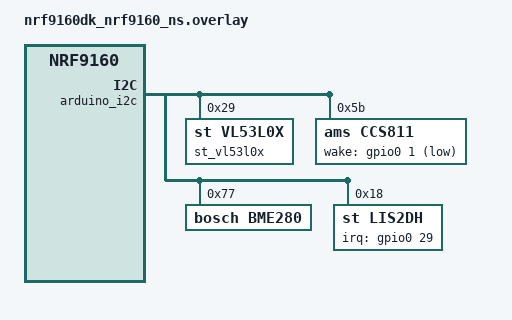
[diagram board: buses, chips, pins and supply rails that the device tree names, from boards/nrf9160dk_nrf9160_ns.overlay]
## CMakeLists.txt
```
# Copyright (c) 2022-2023 Golioth, Inc.
# SPDX-License-Identifier: Apache-2.0

cmake_minimum_required(VERSION 3.20.0)

find_package(Zephyr REQUIRED HINTS $ENV{ZEPHYR_BASE})

project(rd_template)

target_sources(app PRIVATE src/main.c)
target_sources(app PRIVATE src/app_rpc.c)
target_sources(app PRIVATE src/app_settings.c)
target_sources(app PRIVATE src/app_sensors.c)
```

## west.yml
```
# Copyright (c) 2022-2023 Golioth, Inc.
# SPDX-License-Identifier: Apache-2.0

manifest:
  version: 1.0

  projects:
    - name: golioth
      path: modules/lib/golioth-firmware-sdk
      revision: v0.21.0
      url: https://github.com/golioth/golioth-firmware-sdk.git
      west-commands: scripts/west-commands.yml
      submodules: true
      import:
        file: west-ncs.yml
        path-prefix: deps
        name-allowlist:
          - nrf
          - zephyr
          - cmsis_6
          - hal_nordic
          - hal_st
          - mbedtls
          - mbedtls-nrf
          - mcuboot
          - net-tools
          - nrfxlib
          - oberon-psa-crypto
          - qcbor
          - segger
          - tfm-mcuboot
          - tinycrypt
          - trusted-firmware-m
          - zcbor

    - name: golioth-zephyr-boards
      path: deps/modules/lib/golioth-boards
      revision: v2.1.1
      url: https://github.com/golioth/golioth-zephyr-boards

    - name: zephyr-network-info
      path: deps/modules/lib/network-info
      revision: v1.2.1
      url: https://github.com/golioth/zephyr-network-info

    - name: golioth-battery-monitor
      path: deps/modules/lib/battery-monitor
      revision: v1.1.0
      url: https://github.com/golioth/battery-monitor

  self:
    path: app
```

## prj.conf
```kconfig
# Copyright (c) 2022-2023 Golioth, Inc.
# SPDX-License-Identifier: Apache-2.0

# Enable Golioth Firmware SDK
CONFIG_GOLIOTH_FIRMWARE_SDK=y

# Golioth services used in this app
CONFIG_GOLIOTH_FW_UPDATE=y
CONFIG_GOLIOTH_LIGHTDB_STATE=y
CONFIG_LOG_BACKEND_GOLIOTH=y
CONFIG_GOLIOTH_RPC=y
CONFIG_GOLIOTH_SETTINGS=y
CONFIG_GOLIOTH_STREAM=y

# Enable common sample library
CONFIG_GOLIOTH_SAMPLE_COMMON=y

# Configure Golioth SDK dependencies
CONFIG_ZVFS_EVENTFD_MAX=14
CONFIG_ZVFS_OPEN_MAX=23
CONFIG_LOG_PROCESS_THREAD_STACK_SIZE=1536
CONFIG_MBEDTLS_ENABLE_HEAP=y
CONFIG_MBEDTLS_HEAP_SIZE=10240
CONFIG_NETWORKING=y
CONFIG_NET_IPV4=y
CONFIG_COAP_EXTENDED_OPTIONS_LEN=y
CONFIG_COAP_EXTENDED_OPTIONS_LEN_VALUE=39

# Application
CONFIG_MAIN_STACK_SIZE=2048
CONFIG_NET_LOG=y
CONFIG_NET_SHELL=y
CONFIG_REBOOT=y

# Flash memory (etc.) for firmware upgrade
CONFIG_FLASH=y
CONFIG_FLASH_MAP=y
CONFIG_NVS=y
CONFIG_STREAM_FLASH=y
CONFIG_IMG_MANAGER=y
CONFIG_IMG_ERASE_PROGRESSIVELY=y
CONFIG_REBOOT=y

# The rest of the runtime credentials config
CONFIG_SETTINGS=y
CONFIG_SETTINGS_RUNTIME=y
CONFIG_GOLIOTH_SAMPLE_SETTINGS_AUTOLOAD=y
CONFIG_GOLIOTH_SAMPLE_SETTINGS_SHELL=y

# Misc.
CONFIG_JSON_LIBRARY=y

# Longer response length needed for network info
CONFIG_GOLIOTH_RPC_MAX_RESPONSE_LEN=512
CONFIG_I2C=y

# Sensors
CONFIG_GPIO=y
CONFIG_SENSOR=y
CONFIG_VL53L0X=y
CONFIG_BME280=y
CONFIG_LIS2DH=y
CONFIG_CCS811=y
CONFIG_CCS811_TRIGGER_NONE=y

CONFIG_CBPRINTF_FP_SUPPORT=y

CONFIG_SHELL=y
CONFIG_SENSOR_SHELL=y
CONFIG_I2C_SHELL=y

CONFIG_LOG_CMDS=y
```

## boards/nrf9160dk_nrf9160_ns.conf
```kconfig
# Copyright (c) 2024 Golioth, Inc.
# SPDX-License-Identifier: Apache-2.0

# General config
CONFIG_HEAP_MEM_POOL_SIZE=4096
CONFIG_NEWLIB_LIBC=y

# Networking
CONFIG_NET_SOCKETS_OFFLOAD=y
CONFIG_NET_IPV6=y
CONFIG_NET_IPV6_NBR_CACHE=n
CONFIG_NET_IPV6_MLD=n

# Increase native TLS socket implementation, so that it is chosen instead of
# offloaded nRF91 sockets
CONFIG_NET_SOCKETS_TLS_PRIORITY=35

# Modem library
CONFIG_NRF_MODEM_LIB=y

# LTE connectivity with network connection manager
CONFIG_NRF_MODEM_LIB_NET_IF=y
CONFIG_NRF_MODEM_LIB_NET_IF_AUTO_START=y
CONFIG_NRF_MODEM_LIB_NET_IF_AUTO_CONNECT=n
CONFIG_NET_CONNECTION_MANAGER=y
CONFIG_NET_CONNECTION_MANAGER_MONITOR_STACK_SIZE=1024

# Add Logs for LTE Link Handler
CONFIG_GOLIOTH_SAMPLE_NRF91_LTE_MONITOR=y

# Disable options y-selected by NCS for no good reason
CONFIG_MBEDTLS_KEY_EXCHANGE_DHE_PSK_ENABLED=n
CONFIG_MBEDTLS_KEY_EXCHANGE_DHE_RSA_ENABLED=n

# Add Network Info Support
CONFIG_MODEM_INFO=y

# Generate MCUboot compatible images
CONFIG_BOOTLOADER_MCUBOOT=y

CONFIG_REGULATOR=y
```

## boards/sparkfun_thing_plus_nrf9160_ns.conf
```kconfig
# General config
CONFIG_HEAP_MEM_POOL_SIZE=4096
CONFIG_NEWLIB_LIBC=y

# Networking
CONFIG_NET_NATIVE=n
CONFIG_NET_SOCKETS_OFFLOAD=y

# Increase native TLS socket implementation, so that it is chosen instead of
# offloaded nRF91 sockets
CONFIG_NET_SOCKETS_TLS_PRIORITY=35

# LTE link control
CONFIG_LTE_LINK_CONTROL=y
CONFIG_LTE_AUTO_INIT_AND_CONNECT=y

# Modem library
CONFIG_NRF_MODEM_LIB=y

# Use NCS fork of mbedTLS, as Zephyr built-in mbedTLS integration (CONFIG_MBEDTLS_BUILTIN) is in
# conflict with CONFIG_NRF_SECURITY
CONFIG_MBEDTLS_TLS_LIBRARY=y
CONFIG_MBEDTLS_SSL_PROTO_DTLS=y
CONFIG_MBEDTLS_GCM_C=y
# ... and disable options y-selected by NCS for no good reason
CONFIG_MBEDTLS_KEY_EXCHANGE_DHE_PSK_ENABLED=n
CONFIG_MBEDTLS_KEY_EXCHANGE_DHE_RSA_ENABLED=n
# ... also increase heap size to "high enough to make it work"
CONFIG_MBEDTLS_HEAP_SIZE=49152
```

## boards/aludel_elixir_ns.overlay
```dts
/*
 * Copyright (c) 2023 Golioth, Inc.
 *
 * SPDX-License-Identifier: Apache-2.0
 */

&mikrobus_i2c {
	status = "okay";

	st_vl53l0x: st_vl53l0x@29 {
		compatible = "st,vl53l0x";
		reg = <0x29>;
	};

	ccs811: ccs811@5B {
		compatible = "ams,ccs811";
		reg = <0x5B>;
		wake-gpios = <&gpio0 1 GPIO_ACTIVE_LOW>;
   	 };
};
```

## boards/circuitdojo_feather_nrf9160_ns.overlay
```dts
/ {
    aliases {
        sw0 = &greenbtn;
    };

    
    gpio_keys {
        compatible = "gpio-keys";
        greenbtn: green_btn {
            gpios = <&gpio0 3 (GPIO_PULL_UP | GPIO_ACTIVE_LOW)>;
            label = "Green button on outside of case, hooked to pin D7";
        };
    };

};

&i2c1 {
    bme280@77 {
        compatible = "bosch,bme280";
        reg = <0x77>;
        label = "BME280_I2C";
    };
    // ccs811@5B {
    //     compatible = "ams,ccs811";
    //     reg = <0x5B>;
    //     label = "CCS811";
    // };
    vl53l1x@29 {
        compatible = "st,vl53l0x";
        reg = <0x29>;
        label = "VL53L0X";
    };
};
```

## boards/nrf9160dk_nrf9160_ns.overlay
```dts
/*
 * Copyright (c) 2023 Golioth, Inc.
 *
 * SPDX-License-Identifier: Apache-2.0
 */

/ {
	aliases {
		golioth-led = &led2;
		accel0 = &lis2dh;

	};
};

&arduino_i2c {
	status = "okay";

	st_vl53l0x: st_vl53l0x@29 {
		compatible = "st,vl53l0x";
		reg = <0x29>;
	};

	ccs811: ccs811@5B {
		compatible = "ams,ccs811";
		reg = <0x5B>;
		wake-gpios = <&gpio0 1 GPIO_ACTIVE_LOW>;
   	 };

	bme280: bme280@76 {
		compatible = "bosch,bme280";
		reg = <0x77>;
	};

	lis2dh: lis2dh@18 {
		compatible = "st,lis2dh";
		reg = <0x18>;
		irq-gpios = <&gpio0 29 GPIO_ACTIVE_HIGH>;
	};
};

&pinctrl {
	/*
	 * The original Arduino Uno provides the same SCL/SDA on two sets of
	 * pins, but the nRF9160 DK maps these pins to two different pairs of
	 * GPIO. When using the Arduino Uno Click Shield board with the nRF9160
	 * DK, the P0.18/P0.19 pair must be used.
	 */
	i2c2_default: i2c2_default {
		group1 {
			psels = <NRF_PSEL(TWIM_SDA, 0, 18)>,
				<NRF_PSEL(TWIM_SCL, 0, 19)>;
		};
	};

	i2c2_sleep: i2c2_sleep {
		group1 {
			psels = <NRF_PSEL(TWIM_SDA, 0, 18)>,
				<NRF_PSEL(TWIM_SCL, 0, 19)>;
			low-power-enable;
		};
	};

	/*
	 * The default pin group for the nRF9160 DK includes RTS/CTS HW flow
	 * control, but the Arduino Uno Click Shield board does not connect
	 * these pins (only TX/RX are connected on the shield). This keeps RX/TX
	 * on the same pins, but just removes RTS/CTS from the pin groups.
	 */
	uart1_default: uart1_default {
		group1 {
			psels = <NRF_PSEL(UART_TX, 0, 1)>,
				<NRF_PSEL(UART_RX, 0, 0)>;
		};
	};

	uart1_sleep: uart1_sleep {
		group1 {
			psels = <NRF_PSEL(UART_TX, 0, 1)>,
				<NRF_PSEL(UART_RX, 0, 0)>;
			low-power-enable;
		};
	};
};
```

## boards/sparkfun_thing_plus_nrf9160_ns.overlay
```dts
/ {
    aliases {
        sw0 = &greenbtn;
    };

    
    gpio_keys {
        compatible = "gpio-keys";
        greenbtn: green_btn {
            gpios = <&gpio0 3 (GPIO_PULL_UP | GPIO_ACTIVE_LOW)>;
            label = "Green button on outside of case, hooked to pin D7";
        };
    };

};

&i2c1 {
    bme280@77 {
        compatible = "bosch,bme280";
        reg = <0x77>;
        label = "BME280_I2C";
    };
    ccs811@5B {
        compatible = "ams,ccs811";
        reg = <0x5B>;
        label = "CCS811";
    };
    vl53l1x@29 {
        compatible = "st,vl53l0x";
        reg = <0x29>;
        label = "VL53L0X";
    };
};
```

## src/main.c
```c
/*
 * Copyright (c) 2022-2023 Golioth, Inc.
 *
 * SPDX-License-Identifier: Apache-2.0
 */

#include <zephyr/logging/log.h>
LOG_MODULE_REGISTER(golioth_rd_template, LOG_LEVEL_DBG);

#include <app_version.h>
#include "app_rpc.h"
#include "app_settings.h"
#include "app_sensors.h"
#include <golioth/client.h>
#include <golioth/fw_update.h>
#include <samples/common/net_connect.h>
#include <samples/common/sample_credentials.h>
#include <zephyr/kernel.h>

#ifdef CONFIG_SOC_SERIES_NRF91X
#include <modem/lte_lc.h>
#endif
#ifdef CONFIG_ALUDEL_BATTERY_MONITOR
#include <battery_monitor.h>
#endif

#include <zephyr/drivers/gpio.h>

#ifdef CONFIG_MODEM_INFO
#include <modem/modem_info.h>
#endif

/* Current firmware version; update in VERSION */
static const char *_current_version =
	STRINGIFY(APP_VERSION_MAJOR) "." STRINGIFY(APP_VERSION_MINOR) "." STRINGIFY(APP_PATCHLEVEL);

static struct golioth_client *client;
K_SEM_DEFINE(connected, 0, 1);

static k_tid_t _system_thread = 0;

#if DT_NODE_EXISTS(DT_ALIAS(golioth_led))
static const struct gpio_dt_spec golioth_led = GPIO_DT_SPEC_GET(DT_ALIAS(golioth_led), gpios);
#endif /* DT_NODE_EXISTS(DT_ALIAS(golioth_led)) */
static const struct gpio_dt_spec user_btn = GPIO_DT_SPEC_GET(DT_ALIAS(sw1), gpios);
static struct gpio_callback button_cb_data;

/* forward declarations */
void golioth_connection_led_set(uint8_t state);

void wake_system_thread(void)
{
	k_wakeup(_system_thread);
}

static void on_client_event(struct golioth_client *client, enum golioth_client_event event,
			    void *arg)
{
	bool is_connected = (event == GOLIOTH_CLIENT_EVENT_CONNECTED);

	if (is_connected) {
		k_sem_give(&connected);
		golioth_connection_led_set(1);
	}
	LOG_INF("Golioth client %s", is_connected ? "connected" : "disconnected");
}

static void start_golioth_client(void)
{
	/* Get the client configuration from auto-loaded settings */
	const struct golioth_client_config *client_config = golioth_sample_credentials_get();

	/* Create and start a Golioth Client */
	client = golioth_client_create(client_config);

	/* Register Golioth on_connect callback */
	golioth_client_register_event_callback(client, on_client_event, NULL);

	/* Initialize DFU components */
	golioth_fw_update_init(client, _current_version);

	/*** Call Golioth APIs for other services in dedicated app files ***/

	/* Set Golioth Client for streaming sensor data */
	app_sensors_set_client(client);

	/* Register Settings service */
	app_settings_register(client);

	/* Register RPC service */
	app_rpc_register(client);
}

#ifdef CONFIG_SOC_SERIES_NRF91X

static void lte_handler(const struct lte_lc_evt *const evt)
{
	if (evt->type == LTE_LC_EVT_NW_REG_STATUS) {

		if ((evt->nw_reg_status == LTE_LC_NW_REG_REGISTERED_HOME) ||
		    (evt->nw_reg_status == LTE_LC_NW_REG_REGISTERED_ROAMING)) {

			if (!client) {
				/* Create and start a Golioth Client */
				start_golioth_client();
			}
		}
	}
}

#endif /* CONFIG_SOC_SERIES_NRF91X */

#ifdef CONFIG_MODEM_INFO
static void log_modem_firmware_version(void)
{
	char sbuf[128];

	/* Initialize modem info */
	int err = modem_info_init();

	if (err) {
		LOG_ERR("Failed to initialize modem info: %d", err);
	}

	/* Log modem firmware version */
	modem_info_string_get(MODEM_INFO_FW_VERSION, sbuf, sizeof(sbuf));
	LOG_INF("Modem firmware version: %s", sbuf);
}
#endif

void button_pressed(const struct device *dev, struct gpio_callback *cb, uint32_t pins)
{
	LOG_DBG("Button pressed at %d", k_cycle_get_32());
	/* This function is an Interrupt Service Routine. Do not call functions that
	 * use other threads, or perform long-running operations here
	 */
	k_wakeup(_system_thread);
}

/* Set (unset) LED indicators for active Golioth connection */
void golioth_connection_led_set(uint8_t state)
{
	uint8_t pin_state = state ? 1 : 0;
	ARG_UNUSED(pin_state); /* silence warning if no LED/Ostentus present */

	/* Turn on Golioth logo LED once connected */
	IF_ENABLED(DT_NODE_EXISTS(DT_ALIAS(golioth_led)),
		(gpio_pin_set_dt(&golioth_led, pin_state);));
}

int main(void)
{
	int err;

	LOG_DBG("Start Trashcan Monitor");

	LOG_INF("Firmware version: %s", _current_version);
	IF_ENABLED(CONFIG_MODEM_INFO, (log_modem_firmware_version();));

	/* Get system thread id so loop delay change event can wake main */
	_system_thread = k_current_get();

	/* Initialize sensors */
	app_sensors_init();

#if DT_NODE_EXISTS(DT_ALIAS(golioth_led))
	/* Initialize Golioth logo LED */
	err = gpio_pin_configure_dt(&golioth_led, GPIO_OUTPUT_INACTIVE);
	if (err) {
		LOG_ERR("Unable to configure LED for Golioth Logo");
	}
#endif /* #if DT_NODE_EXISTS(DT_ALIAS(golioth_led)) */

#ifdef CONFIG_SOC_SERIES_NRF91X
	/* Start LTE asynchronously if the nRF9160 is used.
	 * Golioth Client will start automatically when LTE connects
	 */

	LOG_INF("Connecting to LTE, this may take some time...");
	lte_lc_connect_async(lte_handler);

#else
	/* If nRF9160 is not used, start the Golioth Client and block until connected */

	/* Run WiFi/DHCP if necessary */
	if (IS_ENABLED(CONFIG_GOLIOTH_SAMPLE_COMMON)) {
		net_connect();
	}

	/* Start Golioth client */
	start_golioth_client();

	/* Block until connected to Golioth */
	k_sem_take(&connected, K_FOREVER);
#endif /* CONFIG_SOC_SERIES_NRF91X */

	/* Set up user button */
	err = gpio_pin_configure_dt(&user_btn, GPIO_INPUT);
	if (err) {
		LOG_ERR("Error %d: failed to configure %s pin %d", err, user_btn.port->name,
			user_btn.pin);
		return err;
	}

	err = gpio_pin_interrupt_configure_dt(&user_btn, GPIO_INT_EDGE_TO_ACTIVE);
	if (err) {
		LOG_ERR("Error %d: failed to configure interrupt on %s pin %d", err,
			user_btn.port->name, user_btn.pin);
		return err;
	}

	gpio_init_callback(&button_cb_data, button_pressed, BIT(user_btn.pin));
	gpio_add_callback(user_btn.port, &button_cb_data);

	while (true) {
		app_sensors_read_and_stream();

		k_sleep(K_SECONDS(get_loop_delay_s()));
	}
}
```

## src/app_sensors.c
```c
/*
 * Copyright (c) 2022-2023 Golioth, Inc.
 *
 * SPDX-License-Identifier: Apache-2.0
 */

#include <stdlib.h>
#include <zephyr/logging/log.h>
#include <sys/_stdint.h>
LOG_MODULE_REGISTER(app_sensors, LOG_LEVEL_DBG);

#include <golioth/client.h>
#include <zephyr/drivers/sensor.h>
#include <golioth/stream.h>
#include <zcbor_encode.h>
#include <zephyr/drivers/gpio.h>
#include <zephyr/kernel.h>

#include "app_sensors.h"
#include "app_settings.h"

#ifdef CONFIG_ALUDEL_BATTERY_MONITOR
#include <battery_monitor.h>
#endif

static struct golioth_client *client;

/* Add Sensor structs here */
const struct device *vl53_dev = DEVICE_DT_GET(DT_NODELABEL(st_vl53l0x));
const struct device *bme280_dev = DEVICE_DT_GET(DT_NODELABEL(bme280));
const struct device *ccs811_dev = DEVICE_DT_GET(DT_NODELABEL(ccs811));
const struct device *accel_dev = DEVICE_DT_GET(DT_ALIAS(accel0));

struct bme280_sensor_measurement {
	struct sensor_value temperature;
	struct sensor_value pressure;
	struct sensor_value humidity;
};

static struct bme280_sensor_measurement bme280_sm;

/* Callback for LightDB Stream */
static void async_error_handler(struct golioth_client *client, enum golioth_status status,
				const struct golioth_coap_rsp_code *coap_rsp_code, const char *path,
				void *arg)
{
	if (status != GOLIOTH_OK) {
		LOG_ERR("Async task failed: %d", status);
		return;
	}
}

static void stream_payload(uint8_t* cbor_buf, size_t cbor_size, char* path)
{
	int err;

	/* Only stream sensor data if connected */
	if (golioth_client_is_connected(client)) {
		err = golioth_stream_set_async(client,
					path,
					GOLIOTH_CONTENT_TYPE_CBOR,
					cbor_buf,
					cbor_size,
					async_error_handler,
					NULL);
		if (err) {
			LOG_ERR("Failed to send %s data to Golioth: %d", path, err);
		}
	}
}

void app_sensors_init(void)
{
	LOG_DBG("Initializing VL53 sensor");
	if (!device_is_ready(vl53_dev)) {
		LOG_ERR("Device %s is not ready", vl53_dev->name);
	}

	LOG_DBG("Initializing BME280 sensor");
	if (!device_is_ready(bme280_dev)) {
		LOG_ERR("Device %s is not ready", bme280_dev->name);
	}

	LOG_DBG("Initializing CCS811 sensor");
	if (!device_is_ready(ccs811_dev)) {
		LOG_ERR("Device %s is not ready", ccs811_dev->name);
	}

	LOG_DBG("Initializing LIS2DH sensor");
	if (!device_is_ready(accel_dev)) {
		LOG_ERR("Device %s is not ready", accel_dev->name);
	}
}

/* This will be called by the main() loop */
/* Do all of your work here! */
void app_sensors_read_and_stream(void)
{
	int err;

	/* Golioth custom hardware for demos */
	IF_ENABLED(CONFIG_ALUDEL_BATTERY_MONITOR, (
		read_and_report_battery(client);
	));

	/* Get VL53X sensor data */
	struct sensor_value distance_value;
	int dist_in_mm = 0;
	int fill_level = -1;

	err = sensor_sample_fetch(vl53_dev);
	if (err) {
		LOG_ERR("Failed to fetch VL53 sensor data: %d", err);
	} else {
		sensor_channel_get(vl53_dev, SENSOR_CHAN_DISTANCE, &distance_value);
		dist_in_mm = sensor_value_to_milli(&distance_value);

		LOG_DBG("Distance is %d mm", dist_in_mm);

		fill_level = (100 - ((float)dist_in_mm/get_trash_can_heigth_s()) * 100);
		if (fill_level < 0) {
			fill_level = -1;
			LOG_WRN("VL53 sensor out of range");
		} else {
			LOG_DBG("Trash Can fill level = %d%%", fill_level);
		}
	}

	/* Get BME280 sensor data */
	err = sensor_sample_fetch(bme280_dev);
	if (err) {
		LOG_ERR("Error fetching BME280 weather sensor data: %d", err);
	} else {
		sensor_channel_get(bme280_dev, SENSOR_CHAN_AMBIENT_TEMP, &bme280_sm.temperature);
		sensor_channel_get(bme280_dev, SENSOR_CHAN_PRESS, &bme280_sm.pressure);
		sensor_channel_get(bme280_dev, SENSOR_CHAN_HUMIDITY, &bme280_sm.humidity);

		LOG_DBG("BME280: Temperature= %.2f C, Pressure= %.2f kPa, Humidity=%.2f %%RH",
			sensor_value_to_double(&bme280_sm.temperature),
			sensor_value_to_double(&bme280_sm.pressure),
			sensor_value_to_double(&bme280_sm.humidity));
	}

	/* Get CCS811 sensor data */
	struct sensor_value co2, voc;

	err = sensor_sample_fetch(ccs811_dev);
	if (err) {
		LOG_ERR("Failed to fetch CCS811 sensor data: %d", err);
	} else {
		sensor_channel_get(ccs811_dev, SENSOR_CHAN_CO2, &co2);
		sensor_channel_get(ccs811_dev, SENSOR_CHAN_VOC, &voc);
		LOG_DBG("CCS811:  eCO2= %u ppm; eTVOC= %u ppb", co2.val1, voc.val1);
	}

	/* Get accelerometer sensor data */
	struct sensor_value accel[3];
	sensor_sample_fetch(accel_dev);
	if (err) {
		LOG_ERR("Failed to fetch accelerometer sensor data: %d", err);
	} else {
		sensor_channel_get(accel_dev, SENSOR_CHAN_ACCEL_XYZ, accel);
		LOG_DBG("Accel: x= %.2f , y= %.2f , z= %.2f",
			sensor_value_to_double(&accel[0]),
			sensor_value_to_double(&accel[1]),
			sensor_value_to_double(&accel[2]));
	}

	/* Encode accelerometer sensor data using CBOR serialization */
	uint8_t accel_buf[64];
	size_t cbor_size;

	/* Create zcbor state variable for encoding */
	ZCBOR_STATE_E(zse, 1, accel_buf, sizeof(accel_buf), 0);
	bool ok = zcbor_map_start_encode(zse, 3) &&
		  zcbor_tstr_put_lit(zse, "x") &&
		  zcbor_float32_put(zse, sensor_value_to_float(&accel[0])) &&
		  zcbor_tstr_put_lit(zse, "y") &&
		  zcbor_float32_put(zse, sensor_value_to_float(&accel[1])) &&
		  zcbor_tstr_put_lit(zse, "z") &&
		  zcbor_float32_put(zse, sensor_value_to_float(&accel[2])) &&
		  zcbor_map_end_encode(zse, 3);

	if (!ok) {
		GLTH_LOGE(TAG, "Failed to close accelerometer CBOR map");
	} else {
		cbor_size = (intptr_t) zse->payload - (intptr_t) accel_buf;
		stream_payload(accel_buf, cbor_size, "accel");
	}

	/* Encode VL53 sensor data using CBOR serialization */
	uint8_t vl53_buf[64];

	/* Create zcbor state variable for encoding */
	ZCBOR_STATE_E(zse_vl, 1, vl53_buf, sizeof(vl53_buf), 0);
	ok = zcbor_map_start_encode(zse_vl, 2) &&
	     zcbor_tstr_put_lit(zse_vl, "distance") &&
	     zcbor_int32_put(zse_vl, (sensor_value_to_milli(&distance_value))) &&
	     zcbor_tstr_put_lit(zse_vl, "fill level") &&
	     zcbor_int32_put(zse_vl, fill_level) &&
	     zcbor_map_end_encode(zse_vl, 2);

	if (!ok) {
		GLTH_LOGE(TAG, "Failed to close accelerometer CBOR map");
	} else {
		cbor_size = (intptr_t) zse_vl->payload - (intptr_t) vl53_buf;
		stream_payload(vl53_buf, cbor_size, "VL53");
	}

	/* Encode BME280 and CCS811 sensor data using CBOR serialization */
	uint8_t weather_buf[128];

	/* Create zcbor state variable for encoding */
	ZCBOR_STATE_E(zse_weather, 1, weather_buf, sizeof(zse_weather), 0);
	ok = zcbor_map_start_encode(zse_weather, 4) &&
	     zcbor_tstr_put_lit(zse_weather, "temperature") &&
             zcbor_float32_put(zse_weather, sensor_value_to_float(&bme280_sm.temperature)) &&
	     zcbor_tstr_put_lit(zse_weather, "humidity") &&
             zcbor_float32_put(zse_weather, sensor_value_to_float(&bme280_sm.humidity)) &&
	     zcbor_tstr_put_lit(zse_weather, "pressure") &&
             zcbor_float32_put(zse_weather, sensor_value_to_float(&bme280_sm.pressure)) &&
	     zcbor_tstr_put_lit(zse_weather, "gas") &&
	     zcbor_map_start_encode(zse_weather, 2) &&
	     zcbor_tstr_put_lit(zse_weather, "co2") &&
             zcbor_int32_put(zse_weather, (co2.val1)) &&
	     zcbor_tstr_put_lit(zse_weather, "voc") &&
             zcbor_int32_put(zse_weather, (voc.val1)) &&
	     zcbor_map_end_encode(zse_weather, 2) &&
	     zcbor_map_end_encode(zse_weather, 4);

	if (!ok) {
		GLTH_LOGE(TAG, "Failed to close weather CBOR map");
	} else {
		cbor_size = (intptr_t) zse_weather->payload - (intptr_t) weather_buf;
		stream_payload(weather_buf, cbor_size, "weather");
	}
}

void app_sensors_set_client(struct golioth_client *sensors_client)
{
	client = sensors_client;
}
```

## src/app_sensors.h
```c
/*
 * Copyright (c) 2022-2023 Golioth, Inc.
 *
 * SPDX-License-Identifier: Apache-2.0
 */

#ifndef __APP_SENSORS_H__
#define __APP_SENSORS_H__

/** The `app_sensors.c` file performs the important work of this application
 * which is to read sensor values and report them to the Golioth LightDB Stream
 * as time-series data.
 *
 * For this demonstration, a `counter` value is periodically logged and pushed
 * to the Golioth time-series database. This simulated sensor reading occurs
 * when the loop in `main.c` calls `app_sensors_read_and_stream()`. The
 * frequency of this loop is determined by values received from the Golioth
 * Settings Service (see app_settings.h).
 *
 * https://docs.golioth.io/firmware/zephyr-device-sdk/light-db-stream/
 */

#include <golioth/client.h>

void app_sensors_init(void);
void app_sensors_set_client(struct golioth_client *sensors_client);
void app_sensors_read_and_stream(void);

#endif /* __APP_SENSORS_H__ */
```

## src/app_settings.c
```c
/*
 * Copyright (c) 2022-2023 Golioth, Inc.
 *
 * SPDX-License-Identifier: Apache-2.0
 */

#include <zephyr/logging/log.h>
LOG_MODULE_REGISTER(app_settings, LOG_LEVEL_DBG);

#include <golioth/client.h>
#include <golioth/settings.h>
#include "main.h"
#include "app_settings.h"

static int32_t _loop_delay_s = 60;
#define LOOP_DELAY_S_MAX 43200
#define LOOP_DELAY_S_MIN 1

static int32_t _trash_can_height_s = 500;
#define TRASH_CAN_HEIGHT_MIN 100
#define TRASH_CAN_HEIGHT_MAX 1500

int32_t get_loop_delay_s(void)
{
	return _loop_delay_s;
}

int32_t get_trash_can_heigth_s(void)
{
	return _trash_can_height_s;
}

static enum golioth_settings_status on_loop_delay_setting(int32_t new_value, void *arg)
{
	_loop_delay_s = new_value;
	LOG_INF("Set loop delay to %i seconds", new_value);
	wake_system_thread();
	return GOLIOTH_SETTINGS_SUCCESS;
}

static enum golioth_settings_status on_trash_can_height_setting(int32_t new_value, void *arg)
{
	_trash_can_height_s = new_value;
	LOG_INF("Set trash can height to %i millimeters", new_value);
	wake_system_thread();
	return GOLIOTH_SETTINGS_SUCCESS;
}

int app_settings_register(struct golioth_client *client)
{
	struct golioth_settings *settings = golioth_settings_init(client);

	int err = golioth_settings_register_int_with_range(settings,
							   "LOOP_DELAY_S",
							   LOOP_DELAY_S_MIN,
							   LOOP_DELAY_S_MAX,
							   on_loop_delay_setting,
							   NULL);

	if (err) {
		LOG_ERR("Failed to register settings callback: %d", err);
	}

	err = golioth_settings_register_int_with_range(settings,
						       "TRASH_CAN_HEIGHT_MM",
						       TRASH_CAN_HEIGHT_MIN,
						       TRASH_CAN_HEIGHT_MAX,
						       on_trash_can_height_setting,
						       NULL);

	if (err) {
		LOG_ERR("Failed to register settings callback: %d", err);
	}


	return err;
}
```

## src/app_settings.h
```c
/*
 * Copyright (c) 2022-2023 Golioth, Inc.
 *
 * SPDX-License-Identifier: Apache-2.0
 */

/**
 * Process changes received from the Golioth Settings Service and return a code
 * to Golioth to indicate the success or failure of the update.
 *
 * In this demonstration, the device looks for the `LOOP_DELAY_S` key from the
 * Settings Service and uses this value to determine the delay between sensor
 * reads (the period of sleep in the loop of `main.c`.
 *
 * https://docs.golioth.io/firmware/zephyr-device-sdk/device-settings-service
 */

#ifndef __APP_SETTINGS_H__
#define __APP_SETTINGS_H__

#include <stdint.h>
#include <golioth/client.h>

int32_t get_loop_delay_s(void);
int32_t get_trash_can_heigth_s(void);
int app_settings_register(struct golioth_client *client);

#endif /* __APP_SETTINGS_H__ */
```

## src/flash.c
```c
/*
 * Copyright (c) 2021 Golioth, Inc.
 *
 * SPDX-License-Identifier: Apache-2.0
 */

#include <zephyr/logging/log.h>
LOG_MODULE_REGISTER(flash_c, LOG_LEVEL_DBG);

#include <stdio.h>
#include <zephyr/storage/flash_map.h>

#include "flash.h"

/* NCS' fork of Zephyr does not implement DT_FIXED_PARTITION_EXISTS macro yet */
#ifndef DT_FIXED_PARTITION_EXISTS
#define DT_FIXED_PARTITION_EXISTS(node_id)		\
	DT_NODE_HAS_COMPAT(DT_PARENT(node_id), fixed_partitions)
#endif

/* NCS' fork of Zephyr does not implement FIXED_PARTITION_ macros yet */
#ifndef FIXED_PARTITION_EXISTS
#define FIXED_PARTITION_EXISTS(label) DT_FIXED_PARTITION_EXISTS(DT_NODELABEL(label))
#endif

/* NCS' fork of Zephyr does not implement FIXED_PARTITION_ macros yet */
#ifndef FIXED_PARTITION_ID
#define FIXED_PARTITION_ID(label) DT_FIXED_PARTITION_ID(DT_NODELABEL(label))
#endif

#ifdef CONFIG_TRUSTED_EXECUTION_NONSECURE
#define SLOT0_LABEL	slot0_ns_partition
#define SLOT1_LABEL	slot1_ns_partition
#else
#define SLOT0_LABEL	slot0_partition
#define SLOT1_LABEL	slot1_partition
#endif /* CONFIG_TRUSTED_EXECUTION_NONSECURE */

/* FIXED_PARTITION_ID() values used below are auto-generated by DT */
#define FLASH_AREA_IMAGE_PRIMARY FIXED_PARTITION_ID(SLOT0_LABEL)
#if FIXED_PARTITION_EXISTS(SLOT1_LABEL)
#define FLASH_AREA_IMAGE_SECONDARY FIXED_PARTITION_ID(SLOT1_LABEL)
#endif

char current_version_str[sizeof("255.255.65535")];

static int current_version_init(const struct device *dev)
{
	struct mcuboot_img_header hdr;
	int written;
	int err;

	err = boot_read_bank_header(FLASH_AREA_IMAGE_PRIMARY, &hdr, sizeof(hdr));
	if (err) {
		LOG_ERR("Failed to read primary area (%u) header: %d",
			FLASH_AREA_IMAGE_PRIMARY, err);
		return err;
	}

	written = snprintf(current_version_str, sizeof(current_version_str),
			   "%u.%u.%u",
			   (unsigned int) hdr.h.v1.sem_ver.major,
			   (unsigned int) hdr.h.v1.sem_ver.minor,
			   (unsigned int) hdr.h.v1.sem_ver.revision);
	if (written >= sizeof(current_version_str)) {
		LOG_ERR("Version string is too long!");
		current_version_str[0] = '\0';
		return -ENOMEM;
	}

	return 0;
}

SYS_INIT(current_version_init, APPLICATION, CONFIG_APPLICATION_INIT_PRIORITY);

/*
 * @note This is a copy of ERASED_VAL_32() from mcumgr.
 */
#define ERASED_VAL_32(x) (((x) << 24) | ((x) << 16) | ((x) << 8) | (x))

/**
 * Determines if the specified area of flash is completely unwritten.
 *
 * @note This is a copy of zephyr_img_mgmt_flash_check_empty() from mcumgr.
 */
static int flash_area_check_empty(const struct flash_area *fa,
				  bool *out_empty)
{
	uint32_t data[16];
	off_t addr;
	off_t end;
	int bytes_to_read;
	int rc;
	int i;
	uint8_t erased_val;
	uint32_t erased_val_32;

	__ASSERT_NO_MSG(fa->fa_size % 4 == 0);

	erased_val = flash_area_erased_val(fa);
	erased_val_32 = ERASED_VAL_32(erased_val);

	end = fa->fa_size;
	for (addr = 0; addr < end; addr += sizeof(data)) {
		if (end - addr < sizeof(data)) {
			bytes_to_read = end - addr;
		} else {
			bytes_to_read = sizeof(data);
		}

		rc = flash_area_read(fa, addr, data, bytes_to_read);
		if (rc != 0) {
			flash_area_close(fa);
			return rc;
		}

		for (i = 0; i < bytes_to_read / 4; i++) {
			if (data[i] != erased_val_32) {
				*out_empty = false;
				flash_area_close(fa);
				return 0;
			}
		}
	}

	*out_empty = true;

	return 0;
}

static int flash_img_erase_if_needed(struct flash_img_context *ctx)
{
	bool empty;
	int err;

	if (IS_ENABLED(CONFIG_IMG_ERASE_PROGRESSIVELY)) {
		return 0;
	}

	err = flash_area_check_empty(ctx->flash_area, &empty);
	if (err) {
		return err;
	}

	if (empty) {
		return 0;
	}

	err = flash_area_erase(ctx->flash_area, 0, ctx->flash_area->fa_size);
	if (err) {
		return err;
	}

	return 0;
}

static const char *swap_type_str(int swap_type)
{
	switch (swap_type) {
	case BOOT_SWAP_TYPE_NONE:
		return "none";
	case BOOT_SWAP_TYPE_TEST:
		return "test";
	case BOOT_SWAP_TYPE_PERM:
		return "perm";
	case BOOT_SWAP_TYPE_REVERT:
		return "revert";
	case BOOT_SWAP_TYPE_FAIL:
		return "fail";
	}

	return "unknown";
}

int flash_img_prepare(struct flash_img_context *flash)
{
	int swap_type;
	int err;

	swap_type = mcuboot_swap_type();
	switch (swap_type) {
	case BOOT_SWAP_TYPE_REVERT:
		LOG_WRN("'revert' swap type detected, it is not safe to continue");
		return -EBUSY;
	default:
		LOG_INF("swap type: %s", swap_type_str(swap_type));
		break;
	}

	err = flash_img_init(flash);
	if (err) {
		LOG_ERR("failed to init: %d", err);
		return err;
	}

	err = flash_img_erase_if_needed(flash);
	if (err) {
		LOG_ERR("failed to erase: %d", err);
		return err;
	}

	return 0;
}
```

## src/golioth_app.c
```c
/*
 * Copyright (c) 2021 Golioth, Inc.
 *
 * SPDX-License-Identifier: Apache-2.0
 */


#include <zephyr/logging/log.h>
LOG_MODULE_REGISTER(golioth_app_c, LOG_LEVEL_INF);

#include <net/golioth/system_client.h>
#include <net/golioth/fw.h>
#include <net/golioth/settings.h>
#include <zephyr/init.h>
#include <zephyr/net/coap.h>

#include "main.h"
#include "golioth_ota.h"
#include "golioth_app.h"

K_SEM_DEFINE(sem_connected, 0, 1);

struct golioth_client *client = GOLIOTH_SYSTEM_CLIENT_GET();

extern char current_version_str[sizeof("255.255.65535")];	//TODO: refactor to remove link to flash.c
extern enum golioth_dfu_result dfu_initial_result; //TODO: refactor to remove link to golioth_ota.c

// Queue for sensor data being sent to Golioth LightDB Stream
K_MSGQ_DEFINE(sensor_data_msgq, SENSOR_DATA_STRING_LEN, SENSOR_DATA_ARRAY_SIZE, 4);

// Set default variables

uint32_t _sensor_interval = 60;
uint32_t _transmit_every_x_reading = 5;
uint32_t TRASH_DIST_25PCT_IN_MM = 500;
uint32_t TRASH_DIST_50PCT_IN_MM = 500;
uint32_t TRASH_DIST_75PCT_IN_MM = 250;
uint32_t TRASH_DIST_90PCT_IN_MM = 100;
uint32_t TRASH_DIST_95PCT_IN_MM = 50;
uint32_t TRASH_DIST_98PCT_IN_MM = 20;
uint32_t TRASH_DIST_100PCT_IN_MM = 0;
double Z_THRESHOLD = 0;	

enum golioth_settings_status on_setting(
		const char *key,
		const struct golioth_settings_value *value)
{
	LOG_DBG("Received setting: key = %s, type = %d", key, value->type);
	if (strcmp(key, "SENSOR_READING_LOOP_S") == 0) {

		/* This setting is expected to be numeric, return an error if it's not */
		if (value->type != GOLIOTH_SETTINGS_VALUE_TYPE_INT64) {
			return GOLIOTH_SETTINGS_VALUE_FORMAT_NOT_VALID;
		}

		/* This setting must be in range [1, 1000], return an error if it's not */
		if (value->i64 < 1 || value->i64 > 1000) {
			return GOLIOTH_SETTINGS_VALUE_OUTSIDE_RANGE;
		}

		/* Setting has passed all checks, so apply it to the loop delay */
		_sensor_interval = (int32_t)value->i64;
		LOG_INF("Set sensor interval to %d seconds", _sensor_interval);

		// Restart the timer with newly added value

		restart_timer();

		return GOLIOTH_SETTINGS_SUCCESS;
	}

	if (strcmp(key, "TRANSMIT_DATA_EVERY_X_READING") == 0) {

		/* This setting is expected to be numeric, return an error if it's not */

		if (value->type != GOLIOTH_SETTINGS_VALUE_TYPE_INT64) {
			return GOLIOTH_SETTINGS_VALUE_FORMAT_NOT_VALID;
		}

		/* This setting must be in range [1, 16], return an error if it's not */
		if (value->i64 < 1 || value->i64 > 16) {
			return GOLIOTH_SETTINGS_VALUE_OUTSIDE_RANGE;
		}

		/* Setting has passed all checks, so apply it to the loop delay */
		_transmit_every_x_reading = (int32_t)value->i64;
		LOG_INF("Set to transmit every %d readings", _transmit_every_x_reading);

		return GOLIOTH_SETTINGS_SUCCESS;
	}

	if (strcmp(key, "TRASH_DIST_25PCT_IN_MM") == 0) {

		/* This setting is expected to be numeric, return an error if it's not */

		if (value->type != GOLIOTH_SETTINGS_VALUE_TYPE_INT64) {
			return GOLIOTH_SETTINGS_VALUE_FORMAT_NOT_VALID;
		}

		/* This setting must be in range [1, 5000], return an error if it's not */
		if (value->i64 < 1 || value->i64 > 5000) {
			return GOLIOTH_SETTINGS_VALUE_OUTSIDE_RANGE;
		}

		/* Setting has passed all checks, so apply it to the loop delay */
		TRASH_DIST_25PCT_IN_MM = (int32_t)value->i64;
		LOG_INF("25PCT Trash level set to %d mm", TRASH_DIST_25PCT_IN_MM);

		return GOLIOTH_SETTINGS_SUCCESS;
	}

	if (strcmp(key, "TRASH_DIST_50PCT_IN_MM") == 0) {

		/* This setting is expected to be numeric, return an error if it's not */

		if (value->type != GOLIOTH_SETTINGS_VALUE_TYPE_INT64) {
			return GOLIOTH_SETTINGS_VALUE_FORMAT_NOT_VALID;
		}

		/* This setting must be in range [1, 5000], return an error if it's not */
		if (value->i64 < 1 || value->i64 > 5000) {
			return GOLIOTH_SETTINGS_VALUE_OUTSIDE_RANGE;
		}

		/* Setting has passed all checks, so apply it to the loop delay */
		TRASH_DIST_50PCT_IN_MM = (int32_t)value->i64;
		LOG_INF("50PCT Trash level set to %d mm", TRASH_DIST_50PCT_IN_MM);

		return GOLIOTH_SETTINGS_SUCCESS;
	}

	if (strcmp(key, "TRASH_DIST_75PCT_IN_MM") == 0) {

		/* This setting is expected to be numeric, return an error if it's not */

		if (value->type != GOLIOTH_SETTINGS_VALUE_TYPE_INT64) {
			return GOLIOTH_SETTINGS_VALUE_FORMAT_NOT_VALID;
		}

		/* This setting must be in range [1, 5000], return an error if it's not */
		if (value->i64 < 1 || value->i64 > 5000) {
			return GOLIOTH_SETTINGS_VALUE_OUTSIDE_RANGE;
		}

		/* Setting has passed all checks, so apply it to the loop delay */
		TRASH_DIST_75PCT_IN_MM = (int32_t)value->i64;
		LOG_INF("75PCT Trash level set to %d mm", TRASH_DIST_75PCT_IN_MM);

		return GOLIOTH_SETTINGS_SUCCESS;
	}

	if (strcmp(key, "TRASH_DIST_90PCT_IN_MM") == 0) {

		/* This setting is expected to be numeric, return an error if it's not */

		if (value->type != GOLIOTH_SETTINGS_VALUE_TYPE_INT64) {
			return GOLIOTH_SETTINGS_VALUE_FORMAT_NOT_VALID;
		}

		/* This setting must be in range [1, 5000], return an error if it's not */
		if (value->i64 < 1 || value->i64 > 5000) {
			return GOLIOTH_SETTINGS_VALUE_OUTSIDE_RANGE;
		}

		/* Setting has passed all checks, so apply it to the loop delay */
		TRASH_DIST_90PCT_IN_MM = (int32_t)value->i64;
		LOG_INF("90PCT Trash level set to %d mm", TRASH_DIST_90PCT_IN_MM);

		return GOLIOTH_SETTINGS_SUCCESS;
	}

		if (strcmp(key, "TRASH_DIST_95PCT_IN_MM") == 0) {

		/* This setting is expected to be numeric, return an error if it's not */

		if (value->type != GOLIOTH_SETTINGS_VALUE_TYPE_INT64) {
			return GOLIOTH_SETTINGS_VALUE_FORMAT_NOT_VALID;
		}

		/* This setting must be in range [1, 5000], return an error if it's not */
		if (value->i64 < 1 || value->i64 > 5000) {
			return GOLIOTH_SETTINGS_VALUE_OUTSIDE_RANGE;
		}

		/* Setting has passed all checks, so apply it to the loop delay */
		TRASH_DIST_95PCT_IN_MM = (int32_t)value->i64;
		LOG_INF("95PCT Trash distance set to %d mm", TRASH_DIST_95PCT_IN_MM);

		return GOLIOTH_SETTINGS_SUCCESS;
	}

	if (strcmp(key, "TRASH_DIST_98PCT_IN_MM") == 0) {

		/* This setting is expected to be numeric, return an error if it's not */

		if (value->type != GOLIOTH_SETTINGS_VALUE_TYPE_INT64) {
			return GOLIOTH_SETTINGS_VALUE_FORMAT_NOT_VALID;
		}

		/* This setting must be in range [1, 5000], return an error if it's not */
		if (value->i64 < 1 || value->i64 > 5000) {
			return GOLIOTH_SETTINGS_VALUE_OUTSIDE_RANGE;
		}

		/* Setting has passed all checks, so apply it to the loop delay */
		TRASH_DIST_98PCT_IN_MM = (int32_t)value->i64;
		LOG_INF("98PCT Trash distance set to %d mm", TRASH_DIST_98PCT_IN_MM);

		return GOLIOTH_SETTINGS_SUCCESS;
	}

	if (strcmp(key, "TRASH_DIST_100PCT_IN_MM") == 0) {

		/* This setting is expected to be numeric, return an error if it's not */

		if (value->type != GOLIOTH_SETTINGS_VALUE_TYPE_INT64) {
			return GOLIOTH_SETTINGS_VALUE_FORMAT_NOT_VALID;
		}

		/* This setting must be in range [1, 5000], return an error if it's not */
		if (value->i64 < 1 || value->i64 > 5000) {
			return GOLIOTH_SETTINGS_VALUE_OUTSIDE_RANGE;
		}

		/* Setting has passed all checks, so apply it to the loop delay */
		TRASH_DIST_100PCT_IN_MM = (int32_t)value->i64;
		LOG_INF("100PCT Trash distance set to %d mm", TRASH_DIST_100PCT_IN_MM);

		return GOLIOTH_SETTINGS_SUCCESS;
	}

	if (strcmp(key, "Z_THRESHOLD") == 0) {

		/* This setting is expected to be numeric, return an error if it's not */
		if (value->type != GOLIOTH_SETTINGS_VALUE_TYPE_FLOAT) {
			return GOLIOTH_SETTINGS_VALUE_FORMAT_NOT_VALID;
		}

		/* This setting must be in range [-10, 10], return an error if it's not */
		if (value->f < MIN_Z_THRESHOLD || value->f > MAX_Z_THRESHOLD) {
			return GOLIOTH_SETTINGS_VALUE_OUTSIDE_RANGE;
		}

		/* Setting has passed all checks, so apply it to the loop delay */
		Z_THRESHOLD = (double)value->f;
		LOG_INF("Z Threshold set to %f", Z_THRESHOLD);

		return GOLIOTH_SETTINGS_SUCCESS;
	}

	/* If the setting is not recognized, we should return an error */
	return GOLIOTH_SETTINGS_KEY_NOT_RECOGNIZED;
}


static int lightdb_error_handler(struct golioth_req_rsp *rsp)
{
	if (rsp->err) {
		LOG_WRN("Failed to set lightdb: %d", rsp->err);
		return rsp->err;
	}

	return 0;
}

static void golioth_on_connect(struct golioth_client *client)
{
	int err;

	k_sem_give(&sem_connected);

	err = golioth_fw_observe_desired(client, golioth_desired_update, &update_ctx);
	if (err) {
		LOG_ERR("Failed to start observation of desired FW: %d", err);
	}

	if (IS_ENABLED(CONFIG_GOLIOTH_SETTINGS)) 
	{
		err = golioth_settings_register_callback(client, on_setting);

		if (err) 
		{
			LOG_ERR("Failed to register settings callback: %d", err);
		}
	}
}

void golioth_lightdb_stream_handler(struct k_work *work) 

{
	int err;
	char stream_data[SENSOR_DATA_STRING_LEN];

	LOG_DBG("Pulling data off of queue");
	err = k_msgq_get(&sensor_data_msgq, &stream_data, K_NO_WAIT);
	if (err)
	{
		LOG_DBG("Error getting data from the queue: %d\n", err);	
	}
	
	err = golioth_stream_push_cb(client, "sensor",
				     GOLIOTH_CONTENT_FORMAT_APP_JSON,
				     stream_data, strlen(stream_data),
				     lightdb_error_handler, NULL);
	if (err) {
		LOG_WRN("Failed to send sensor data: %d", err);
		return;
	}

	LOG_DBG("Sent the following to LightDB Stream: %s", stream_data);

}

K_WORK_DEFINE(lightdb_stream_submit_worker, golioth_lightdb_stream_handler);


void send_queued_data_to_golioth(char* sensor_data_array, char* golioth_endpoint)
{
	int err;
	err = k_msgq_put(&sensor_data_msgq, sensor_data_array, K_NO_WAIT);
	if (err){
		LOG_ERR("Queue is full");
	}
	LOG_DBG("Kicking off LightDB Stream worker");
	k_work_submit(&lightdb_stream_submit_worker);

}

uint32_t get_sensor_interval(void)
{
	return _sensor_interval;
}

uint32_t get_transmit_every_x_reading(void)
{
	return _transmit_every_x_reading;
}

uint32_t get_trash_dist_25_pct_in_mm(void)
{
	return TRASH_DIST_25PCT_IN_MM;
}

uint32_t get_trash_dist_50_pct_in_mm(void)
{
	return TRASH_DIST_50PCT_IN_MM;
}

uint32_t get_trash_dist_75_pct_in_mm(void)
{
	return TRASH_DIST_75PCT_IN_MM;
}

uint32_t get_trash_dist_90_pct_in_mm(void)
{
	return TRASH_DIST_90PCT_IN_MM;
}

uint32_t get_trash_dist_95_pct_in_mm(void)
{
	return TRASH_DIST_95PCT_IN_MM;
}

uint32_t get_trash_dist_98_pct_in_mm(void)
{
	return TRASH_DIST_98PCT_IN_MM;
}

uint32_t get_trash_dist_100_pct_in_mm(void)
{
	return TRASH_DIST_100PCT_IN_MM;
}

double get_z_threshold(void)
{
	return Z_THRESHOLD;
}

void app_init(void)
{
	client->on_connect = golioth_on_connect;
	golioth_system_client_start();
	LOG_INF("Waiting for Golioth connection");
	k_sem_take(&sem_connected, K_FOREVER);
	LOG_INF("Connected to Golioth");
}
```

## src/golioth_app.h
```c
/*
 * Copyright (c) 2021 Golioth, Inc.
 *
 * SPDX-License-Identifier: Apache-2.0
 */

#ifndef __GOLIOTH_APP_H__
#define __GOLIOTH_APP_H__


extern struct golioth_client *client;


/* SENSOR_DATA_STRING_LEN must be a multiple of 4!! */
#define SENSOR_DATA_STRING_LEN	300
#define SENSOR_DATA_ARRAY_SIZE	16
#define MIN_Z_THRESHOLD -15
#define MAX_Z_THRESHOLD 15


#define GOLIOTH_STREAM_DEFAULT_ENDPOINT GOLIOTH_LIGHTDB_STREAM_PATH("sensor")

//prototype

void app_init(void);
void send_queued_data_to_golioth(char*, char*);
uint32_t get_sensor_interval(void); 
uint32_t get_transmit_every_x_reading(void); 
uint32_t get_trash_dist_25_pct_in_mm(void);
uint32_t get_trash_dist_50_pct_in_mm(void);
uint32_t get_trash_dist_75_pct_in_mm(void);
uint32_t get_trash_dist_90_pct_in_mm(void);
uint32_t get_trash_dist_95_pct_in_mm(void);
uint32_t get_trash_dist_98_pct_in_mm(void);
uint32_t get_trash_dist_100_pct_in_mm(void);
double get_z_threshold(void);


#endif
```

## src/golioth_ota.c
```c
/*
 * Copyright (c) 2021 Golioth, Inc.
 *
 * SPDX-License-Identifier: Apache-2.0
 */

#include <zephyr/logging/log.h>
LOG_MODULE_REGISTER(ota_c, LOG_LEVEL_DBG);

#include <net/golioth/fw.h>
#include <net/golioth/system_client.h>
#include <samples/common/net_connect.h>

#include <stdlib.h>
#include <stdio.h>
#include <zephyr/logging/log_ctrl.h>
#include <zephyr/net/coap.h>
#include <zephyr/sys/reboot.h>

#include "flash.h"
#include "golioth_ota.h"
#include "golioth_app.h"

K_SEM_DEFINE(sem_downloading, 0, 1);
K_SEM_DEFINE(sem_downloaded, 0, 1);

#define REBOOT_DELAY_SEC 1

// struct golioth_client *client = GOLIOTH_SYSTEM_CLIENT_GET();

struct dfu_ctx update_ctx;
enum golioth_dfu_result dfu_initial_result = GOLIOTH_DFU_RESULT_INITIAL;

static int data_received(struct golioth_req_rsp *rsp)
{
	struct dfu_ctx *dfu = rsp->user_data;
	bool last = rsp->get_next == NULL;
	int err;

	if (rsp->err)
	{
		LOG_ERR("Error while receiving FW data: %d", rsp->err);
		return 0;
	}

	LOG_DBG("Received %zu bytes at offset %zu%s", rsp->len, rsp->off,
			last ? " (last)" : "");

	if (rsp->off == 0)
	{
		err = flash_img_prepare(&dfu->flash);
		if (err)
		{
			return err;
		}
	}

	err = flash_img_buffered_write(&dfu->flash, rsp->data, rsp->len, last);
	if (err)
	{
		LOG_ERR("Failed to write to flash: %d", err);
		return err;
	}

	if (last)
	{
		k_sem_give(&sem_downloaded);
	}

	if (rsp->get_next)
	{
		rsp->get_next(rsp->get_next_data, 0);
	}

	return 0;
}

static uint8_t *uri_strip_leading_slash(uint8_t *uri, size_t *uri_len)
{
	if (*uri_len > 0 && uri[0] == '/')
	{
		(*uri_len)--;
		return &uri[1];
	}

	return uri;
}

int golioth_desired_update(struct golioth_req_rsp *rsp)
{
	struct dfu_ctx *dfu = rsp->user_data;
	size_t version_len = sizeof(dfu->version) - 1;
	uint8_t uri[64];
	uint8_t *uri_p;
	size_t uri_len = sizeof(uri);
	int err;

	if (rsp->err)
	{
		LOG_ERR("Error while receiving desired FW update: %d", rsp->err);
		return 0;
	}

	LOG_HEXDUMP_DBG(rsp->data, rsp->len, "Desired");

	err = golioth_fw_desired_parse(rsp->data, rsp->len,
								   dfu->version, &version_len,
								   uri, &uri_len);
	switch (err)
	{
	case 0:
		break;
	case -ENOENT:
		LOG_INF("No release rolled out yet");
		return 0;
	default:
		LOG_ERR("Failed to parse desired version: %d", err);
		return err;
	}

	dfu->version[version_len] = '\0';

	if (version_len == strlen(current_version_str) &&
		!strncmp(current_version_str, dfu->version, version_len))
	{
		LOG_INF("Desired version (%s) matches current firmware version!",
				current_version_str);
		return -EALREADY;
	}

	uri_p = uri_strip_leading_slash(uri, &uri_len);

	k_sem_give(&sem_downloading);

	err = golioth_fw_download(client, uri_p, uri_len, data_received, dfu);
	if (err)
	{
		LOG_ERR("Failed to request firmware: %d", err);
		return err;
	}

	return 0;
}

void ota_img_confirm(void)
{
	int err;

	if (!boot_is_img_confirmed())
	{
		/*
		 * There is no shared context between previous update request
		 * and current boot, so treat current image 'confirmed' flag as
		 * an indication whether previous update process was successful
		 * or not.
		 */
		dfu_initial_result = GOLIOTH_DFU_RESULT_FIRMWARE_UPDATED_SUCCESSFULLY;

		err = boot_write_img_confirmed();
		if (err)
		{
			LOG_ERR("Failed to confirm image: %d", err);
		}
	}
}

void ota_init(void)
{

	err = golioth_fw_report_state(client, "main",
				      current_version_str,
				      NULL,
				      GOLIOTH_FW_STATE_IDLE,
				      dfu_initial_result);
	if (err) {
		LOG_ERR("Failed to report firmware state: %d", err);
	}

	k_sem_take(&sem_downloading, K_FOREVER);

	err = golioth_fw_report_state(client, "main",
				      current_version_str,
				      update_ctx.version,
				      GOLIOTH_FW_STATE_DOWNLOADING,
				      GOLIOTH_DFU_RESULT_INITIAL);
	if (err) {
		LOG_ERR("Failed to update to '%s' state: %d", "downloading", err);
	}

	k_sem_take(&sem_downloaded, K_FOREVER);

	err = golioth_fw_report_state(client, "main",
				      current_version_str,
				      update_ctx.version,
				      GOLIOTH_FW_STATE_DOWNLOADED,
				      GOLIOTH_DFU_RESULT_INITIAL);
	if (err) {
		LOG_ERR("Failed to update to '%s' state: %d", "downloaded", err);
	}

	err = golioth_fw_report_state(client, "main",
				      current_version_str,
				      update_ctx.version,
				      GOLIOTH_FW_STATE_UPDATING,
				      GOLIOTH_DFU_RESULT_INITIAL);
	if (err) {
		LOG_ERR("Failed to update to '%s' state: %d", "updating", err);
	}

	LOG_INF("Requesting upgrade");

	err = boot_request_upgrade(BOOT_UPGRADE_TEST);
	if (err) {
		LOG_ERR("Failed to request upgrade: %d", err);
		return;
	}

	LOG_INF("Rebooting in %d second(s)", REBOOT_DELAY_SEC);

	/* Synchronize logs */
	LOG_PANIC();

	k_sleep(K_SECONDS(REBOOT_DELAY_SEC));

	sys_reboot(SYS_REBOOT_COLD);
}
```

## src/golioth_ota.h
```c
/*
 * Copyright (c) 2021 Golioth, Inc.
 *
 * SPDX-License-Identifier: Apache-2.0
 */

#ifndef __GOLIOTH_OTA_H__
#define __GOLIOTH_OTA_H__

#include "flash.h"
#include <net/golioth/fw.h>

//prototype

void ota_init (void);

int golioth_desired_update(struct golioth_req_rsp *rsp);

void ota_img_confirm(void);		

// Hacktime

struct dfu_ctx {
	struct flash_img_context flash;
	char version[65];
};

extern struct dfu_ctx update_ctx;
extern enum golioth_dfu_result dfu_initial_result;


#endif
```

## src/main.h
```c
/*
 * Copyright (c) 2021 Golioth, Inc.
 *
 * SPDX-License-Identifier: Apache-2.0
 */

#ifndef __GOLIOTH_MAIN_H__
#define __GOLIOTH_MAIN_H__


// Prototype

void restart_timer(void);

#endif
```
